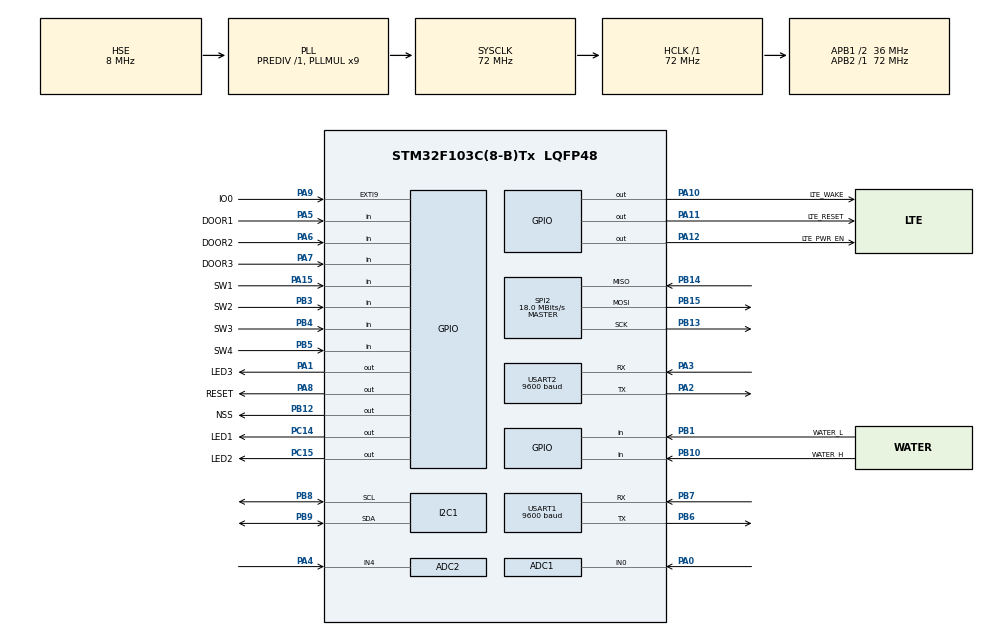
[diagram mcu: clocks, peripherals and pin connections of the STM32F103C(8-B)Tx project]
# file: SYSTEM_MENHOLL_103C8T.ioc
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ADC1.Channel-0\#ChannelRegularConversion=ADC_CHANNEL_0
ADC1.NbrOfConversionFlag=1
ADC1.Rank-0\#ChannelRegularConversion=1
ADC1.SamplingTime-0\#ChannelRegularConversion=ADC_SAMPLETIME_1CYCLE_5
ADC1.master=1
ADC2.Channel-8\#ChannelRegularConversion=ADC_CHANNEL_4
ADC2.NbrOfConversionFlag=1
ADC2.Rank-8\#ChannelRegularConversion=1
ADC2.SamplingTime-8\#ChannelRegularConversion=ADC_SAMPLETIME_1CYCLE_5
FREERTOS.Tasks01=defaultTask,0,128,StartDefaultTask,Default,NULL,Dynamic,NULL,NULL
Mcu.Family=STM32F1
Mcu.Name=STM32F103C(8-B)Tx
Mcu.Package=LQFP48
NVIC.EXTI9_5_IRQn=true\:5\:0\:false\:false\:true\:true\:true\:true
NVIC.PriorityGroup=NVIC_PRIORITYGROUP_4
NVIC.TIM4_IRQn=true\:15\:0\:false\:false\:true\:false\:false\:true
NVIC.TimeBase=TIM4_IRQn
NVIC.TimeBaseIP=TIM4
NVIC.USART1_IRQn=true\:5\:0\:false\:false\:true\:true\:true\:true
NVIC.USART2_IRQn=true\:5\:0\:false\:false\:true\:true\:true\:true
PA0-WKUP.Signal=ADCx_IN0
PA1.GPIO_Label=LED3
PA1.Signal=GPIO_Output
PA10.GPIO_Label=LTE_WAKE
PA10.Signal=GPIO_Output
PA11.GPIO_Label=LTE_RESET
PA11.Signal=GPIO_Output
PA12.GPIO_Label=LTE_PWR_EN
PA12.Signal=GPIO_Output
PA13.Mode=Serial_Wire
PA13.Signal=SYS_JTMS-SWDIO
PA14.Mode=Serial_Wire
PA14.Signal=SYS_JTCK-SWCLK
PA15.GPIO_Label=SW1
PA15.GPIO_PuPd=GPIO_PULLUP
PA15.Signal=GPIO_Input
PA2.Mode=Asynchronous
PA2.Signal=USART2_TX
PA3.Mode=Asynchronous
PA3.Signal=USART2_RX
PA4.Signal=ADCx_IN4
PA5.GPIO_Label=DOOR1
PA5.Signal=GPIO_Input
PA6.GPIO_Label=DOOR2
PA6.Signal=GPIO_Input
PA7.GPIO_Label=DOOR3
PA7.Signal=GPIO_Input
PA8.GPIO_Label=RESET
PA8.Signal=GPIO_Output
PA9.GPIO_Label=IO0
PA9.Signal=GPXTI9
PB1.GPIO_Label=WATER_L
PB1.GPIO_PuPd=GPIO_NOPULL
PB1.Signal=GPIO_Input
PB10.GPIO_Label=WATER_H
PB10.GPIO_PuPd=GPIO_NOPULL
PB10.Signal=GPIO_Input
PB12.GPIO_Label=NSS
PB12.PinState=GPIO_PIN_SET
PB12.Signal=GPIO_Output
PB13.Mode=Full_Duplex_Master
PB13.Signal=SPI2_SCK
PB14.Mode=Full_Duplex_Master
PB14.Signal=SPI2_MISO
PB15.Mode=Full_Duplex_Master
PB15.Signal=SPI2_MOSI
PB3.GPIO_Label=SW2
PB3.GPIO_PuPd=GPIO_PULLUP
PB3.Signal=GPIO_Input
PB4.GPIO_Label=SW3
PB4.GPIO_PuPd=GPIO_PULLUP
PB4.Signal=GPIO_Input
PB5.GPIO_Label=SW4
PB5.GPIO_PuPd=GPIO_PULLUP
PB5.Signal=GPIO_Input
PB6.Mode=Asynchronous
PB6.Signal=USART1_TX
PB7.Mode=Asynchronous
PB7.Signal=USART1_RX
PB8.Mode=I2C
PB8.Signal=I2C1_SCL
PB9.Mode=I2C
PB9.Signal=I2C1_SDA
PC14-OSC32_IN.GPIO_Label=LED1
PC14-OSC32_IN.Signal=GPIO_Output
PC15-OSC32_OUT.GPIO_Label=LED2
PC15-OSC32_OUT.Signal=GPIO_Output
PD0-OSC_IN.Mode=HSE-External-Oscillator
PD0-OSC_IN.Signal=RCC_OSC_IN
PD1-OSC_OUT.Mode=HSE-External-Oscillator
PD1-OSC_OUT.Signal=RCC_OSC_OUT
ProjectManager.HeapSize=0x200
ProjectManager.StackSize=0xf00
ProjectManager.TargetToolchain=EWARM V8.32
RCC.ADCPresc=RCC_ADCPCLK2_DIV6
RCC.AHBFreq_Value=72000000
RCC.APB1CLKDivider=RCC_HCLK_DIV2
RCC.APB1Freq_Value=36000000
RCC.APB1TimFreq_Value=72000000
RCC.APB2Freq_Value=72000000
RCC.APB2TimFreq_Value=72000000
RCC.HCLKFreq_Value=72000000
RCC.PLLMUL=RCC_PLL_MUL9
RCC.PLLSourceVirtual=RCC_PLLSOURCE_HSE
RCC.SYSCLKFreq_VALUE=72000000
RCC.SYSCLKSource=RCC_SYSCLKSOURCE_PLLCLK
RCC.USBFreq_Value=72000000
SH.ADCx_IN0.0=ADC1_IN0,IN0
SH.ADCx_IN4.0=ADC2_IN4,IN4
SPI2.CalculateBaudRate=18.0 MBits/s
SPI2.Direction=SPI_DIRECTION_2LINES
SPI2.Mode=SPI_MODE_MASTER
SPI2.VirtualType=VM_MASTER
USART1.BaudRate=9600
USART1.VirtualMode=VM_ASYNC
USART2.BaudRate=9600
USART2.VirtualMode=VM_ASYNC
VP_FREERTOS_VS_CMSIS_V1.Mode=CMSIS_V1
VP_IWDG_VS_IWDG.Mode=IWDG_Activate
VP_SYS_VS_tim4.Mode=TIM4
board=custom

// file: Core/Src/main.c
/* USER CODE BEGIN Header */
/**
  ******************************************************************************
  * @file           : main.c
  * @brief          : Main program body
  ******************************************************************************
  * @attention
  *
  * Copyright (c) 2022 STMicroelectronics.
  * All rights reserved.
  *
  * This software is licensed under terms that can be found in the LICENSE file
  * in the root directory of this software component.
  * If no LICENSE file comes with this software, it is provided AS-IS.
  *
  ******************************************************************************
  */
/* USER CODE END Header */
#include "main.h"
#include "cmsis_os.h"
#include "adc.h"
#include "i2c.h"
#include "iwdg.h"
#include "spi.h"
#include "usart.h"
#include "gpio.h"

/* USER CODE BEGIN Includes */
#include"common.h"

/* USER CODE END Includes */

void SystemClock_Config(void);
void MX_FREERTOS_Init(void);

/* USER CODE BEGIN 0 */
uint8_t rxData1[1] = {0,};
//int dddata[8] = {1,2,3,4,5,6,7,8};
int dddata[8] = {0,0,0,0,0,0,0,0};

/* USER CODE END 0 */

int main(void)
{

  /* MCU Configuration--------------------------------------------------------*/

  /* Reset of all peripherals, Initializes the Flash interface and the Systick. */
  HAL_Init();

  /* Configure the system clock */
  SystemClock_Config();

  /* Initialize all configured peripherals */
  MX_GPIO_Init();
  MX_SPI2_Init();
  MX_ADC1_Init();
  MX_I2C1_Init();
  MX_USART2_UART_Init();
  MX_ADC2_Init();
  MX_USART1_UART_Init();
 // MX_IWDG_Init();
  /* USER CODE BEGIN 2 */

  My_Device();

  HAL_UART_Receive_IT(&huart1, rxData1, 1);

  if(m_status.gpsEnable)
	GPS_Init();
  else
  	Debug_Init();

  if(m_status.device != MASTER_DEVICE)
  {
  	  if(m_status.mqEnable)Eco_Init();

	  if(m_status.o2Enable)HAL_UART_Transmit(&huart1, "M 1\r\n", 5,1000);
  }

  SX1276_Init(922000000, SF_VALUE, KHZ_125, RATE_4_5, CRC_ENABLE);
  if(m_sx1276.device == MASTER_DEVICE)
  {
	  SX1276_TX_Entry(16, 2000);
	  Lora_Send_Msg("Device_start",NONE_VALUE);
	  LTE_Init();
  }
  else
  {
	  SX1276_RX_Entry(2000);
  }

  //CMD_GetCCLK();

// if(m_status.gpsEnable)
//  GPS_config();

//  while(1)
//  {
//  	if(HTTP_Config(3, dddata)==COMPLETE)break;
//  }
//
  /* USER CODE END 2 */

  /* Call init function for freertos objects (in freertos.c) */
  MX_FREERTOS_Init();
  /* Start scheduler */
  osKernelStart();

  /* We should never get here as control is now taken by the scheduler */
  /* Infinite loop */
  while (1)
  {

    /* USER CODE BEGIN 3 */

//	  if(m_status.device == 0x01)
//	  {
//		  	Master_Pass_Many_Station();
//			Pc_Command_Response();
//	  }
//	  if(m_status.device == 0x02 ||m_status.device == 0x03||m_status.device == 0x04)
//	  {
//	  		Gateway_Pass();
//	  }
//	  if(m_status.device == 0x05) Node_Pass();
//
//    Led_Toggle_Config();
  }
  /* USER CODE END 3 */
}

void SystemClock_Config(void)
{
  RCC_OscInitTypeDef RCC_OscInitStruct = {0};
  RCC_ClkInitTypeDef RCC_ClkInitStruct = {0};
  RCC_PeriphCLKInitTypeDef PeriphClkInit = {0};

  /** Initializes the RCC Oscillators according to the specified parameters
  * in the RCC_OscInitTypeDef structure.
  */
  RCC_OscInitStruct.OscillatorType = RCC_OSCILLATORTYPE_LSI|RCC_OSCILLATORTYPE_HSE;
  RCC_OscInitStruct.HSEState = RCC_HSE_ON;
  RCC_OscInitStruct.HSEPredivValue = RCC_HSE_PREDIV_DIV1;
  RCC_OscInitStruct.HSIState = RCC_HSI_ON;
  RCC_OscInitStruct.LSIState = RCC_LSI_ON;
  RCC_OscInitStruct.PLL.PLLState = RCC_PLL_ON;
  RCC_OscInitStruct.PLL.PLLSource = RCC_PLLSOURCE_HSE;
  RCC_OscInitStruct.PLL.PLLMUL = RCC_PLL_MUL9;
  if (HAL_RCC_OscConfig(&RCC_OscInitStruct) != HAL_OK)
  {
    Error_Handler();
  }
  /** Initializes the CPU, AHB and APB buses clocks
  */
  RCC_ClkInitStruct.ClockType = RCC_CLOCKTYPE_HCLK|RCC_CLOCKTYPE_SYSCLK
                              |RCC_CLOCKTYPE_PCLK1|RCC_CLOCKTYPE_PCLK2;
  RCC_ClkInitStruct.SYSCLKSource = RCC_SYSCLKSOURCE_PLLCLK;
  RCC_ClkInitStruct.AHBCLKDivider = RCC_SYSCLK_DIV1;
  RCC_ClkInitStruct.APB1CLKDivider = RCC_HCLK_DIV2;
  RCC_ClkInitStruct.APB2CLKDivider = RCC_HCLK_DIV1;

  if (HAL_RCC_ClockConfig(&RCC_ClkInitStruct, FLASH_LATENCY_2) != HAL_OK)
  {
    Error_Handler();
  }
  PeriphClkInit.PeriphClockSelection = RCC_PERIPHCLK_ADC;
  PeriphClkInit.AdcClockSelection = RCC_ADCPCLK2_DIV6;
  if (HAL_RCCEx_PeriphCLKConfig(&PeriphClkInit) != HAL_OK)
  {
    Error_Handler();
  }
}

/* USER CODE BEGIN 4 */
//void Main_config()
//{
//	static uint8_t step = STEP1;
//	static uint32_t standardTime = 0;
//	static int cnt = 0;
//	switch(step)
//	{
//		case STEP1:
//			if(HAL_GetTick() >standardTime + SEC_30)
//			{
//				Lora_Send_Msg("Nowtime",HAL_GetTick()/1000);
//				HAL_Delay(1000);
//				Lora_Send_Msg("CNT",cnt++);
//
//				Eco_Config();
//				step = STEP2;
//				standardTime = HAL_GetTick();
//			}
//		break;
//
//		case STEP2:
//			if(HAL_GetTick() >standardTime + SEC_40)
//			{
//				Battery_Config();
//				step = STEP3;
//				standardTime = HAL_GetTick();
//			}
//		break;
//
//		case STEP3:
//			if(HAL_GetTick() >standardTime + SEC_5)
//			{
//				Menholl_Open_Config();
//				step = STEP4;
//				standardTime = HAL_GetTick();
//			}
//		break;
//
//		case STEP4:
//			if(HAL_GetTick() >standardTime + SEC_5)
//			{
//				Pump_Active_Config();
//				step = STEP5;
//				standardTime = HAL_GetTick();
//			}
//		break;
//
//		case STEP5:
//			if(HAL_GetTick() >standardTime + SEC_5)
//			{
//				step = STEP1;
//				All_Send();
//				standardTime = HAL_GetTick();
//			}
//		break;
//
//	}
//	LED1_TOGGLE;
//	LED2_TOGGLE;
//	LED3_TOGGLE;
//	HAL_Delay(100);
//	//Error_Config();
//}
extern char buffer[512];
uint8_t ddFFlag = 0;
void Main_config()
{
	static uint32_t timestemp = 0;

//	if(HAL_GetTick()-timestemp>60000)
//	{
		if(m_status.mqEnable)Eco_Config();

		if(m_status.adcEnable) Battery_Config();
		if(m_status.menhollEnable) Menholl_Open_Config();
		if(m_status.pumpEnable) Pump_Active_Config();
		if(m_status.o2Enable) O2_Sensor();

		if(m_status.adcEnable ||m_status.menhollEnable ||m_status.pumpEnable ||m_status.o2Enable)
		{
			Event_Config(m_sx1276.buffCh3 ,2);
		}
		HAL_Delay(2000);

//		timestemp = HAL_GetTick();
//	}

//		if(HAL_GetTick()-timestemp>15000)
//		{
//			GPS_config();
//			timestemp = HAL_GetTick();
//		}

}

void Test_Event(char ch)
{
	static uint32_t timestemp = 0;
	uint16_t buff[8] = {0,};

	timestemp = HAL_GetTick();
	buff[0] = timestemp/1000;
	buff[1] = timestemp/1000+1;
	buff[2] = timestemp/1000+2;
	buff[3] = timestemp/1000+3;
	buff[4] = timestemp/1000+4;
	buff[5] = timestemp/1000+5;
	buff[6] = timestemp/1000+6;
	buff[7] = timestemp/1000+7;

	switch(ch)
	{
		case 1:	Event_Config(buff,0);	break;
		case 2:	Event_Config(buff,1);	break;
		case 3:	Event_Config(buff,2);	break;
	}

}

uint8_t Event_Config(uint16_t* buffCh, uint8_t chAdd)
{
	static uint32_t timestemp = 0;
	uint8_t onGoing = 1;
	int delay = 0;
	static uint8_t step = STEP1;

	if(Get_Size(buffCh) == 0) return 0;

		while(onGoing)
		{
			switch(step)
			{
				case STEP1:
					LED3_ON;
					m_sx1276.event = 1;
					timestemp = HAL_GetTick();
					delay = rand()%5;
					step = STEP2;
				break;
				case STEP2:
					if(strlen(buffer) != 0)
					{
						timestemp = HAL_GetTick(); // Time reset
						memset(buffer,0,512);
					}
					if(HAL_GetTick()-timestemp>4000+(delay *1000))
					{
						step = STEP3;
					}

				break;

				case STEP3:

					Lora_Send_Msg("1234567", NONE_VALUE); // dumy
					HAL_Delay(1000);

					for(int i =0 ;i < 8;i++)
					{
						if(buffCh[i] != 0)
						{
							if(Node_event(i + (chAdd*8), buffCh[i])==2)
							{
								step = STEP1;
								goto EXIT;
							}
							HAL_Delay(100);
						}
					}

					if(Node_event(MSG_END, MSG_END) == 2)
					{
						step = STEP1;
						goto EXIT;
					}
					HAL_Delay(100);

					step = STEP4;
				break;

				case STEP4:
					LED3_OFF;
					memset(buffCh, 0 , 8*2);
					m_sx1276.event = 0;
					step = STEP1;
					onGoing = 0;
				break;

			}

			EXIT:
		}

}
/* USER CODE END 4 */

void HAL_TIM_PeriodElapsedCallback(TIM_HandleTypeDef *htim)
{
  if (htim->Instance == TIM4) {
    HAL_IncTick();
  }
}

void Error_Handler(void)
{
  /* USER CODE BEGIN Error_Handler_Debug */
  Error_Watchdog(ERR0R_2);
  /* User can add his own implementation to report the HAL error return state */
  __disable_irq();
  while (1)
  {
  }
  /* USER CODE END Error_Handler_Debug */
}

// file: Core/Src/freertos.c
/* USER CODE BEGIN Header */
/**
  ******************************************************************************
  * File Name          : freertos.c
  * Description        : Code for freertos applications
  ******************************************************************************
  * @attention
  *
  * Copyright (c) 2022 STMicroelectronics.
  * All rights reserved.
  *
  * This software is licensed under terms that can be found in the LICENSE file
  * in the root directory of this software component.
  * If no LICENSE file comes with this software, it is provided AS-IS.
  *
  ******************************************************************************
  */
/* USER CODE END Header */

#include "FreeRTOS.h"
#include "task.h"
#include "main.h"
#include "cmsis_os.h"

/* USER CODE BEGIN Includes */
#include"common.h"

/* USER CODE END Includes */

/* USER CODE BEGIN PTD */
void vTask1(void* pvPrameters);
void vTask2(void* pvPrameters);
void vTask3(void* pvPrameters);

void PriorChange();
/* USER CODE END PTD */

/* USER CODE BEGIN PD */
extern char buffer[512];
xTaskHandle xTask1Handle = NULL;
xTaskHandle xTask2Handle = NULL;
xTaskHandle xTask3Handle = NULL;

/* USER CODE END PD */

osThreadId defaultTaskHandle;

void StartDefaultTask(void const * argument);

void MX_FREERTOS_Init(void); /* (MISRA C 2004 rule 8.1) */

/* GetIdleTaskMemory prototype (linked to static allocation support) */
void vApplicationGetIdleTaskMemory( StaticTask_t **ppxIdleTaskTCBBuffer, StackType_t **ppxIdleTaskStackBuffer, uint32_t *pulIdleTaskStackSize );

/* USER CODE BEGIN GET_IDLE_TASK_MEMORY */
static StaticTask_t xIdleTaskTCBBuffer;
static StackType_t xIdleStack[configMINIMAL_STACK_SIZE];

void vApplicationGetIdleTaskMemory( StaticTask_t **ppxIdleTaskTCBBuffer, StackType_t **ppxIdleTaskStackBuffer, uint32_t *pulIdleTaskStackSize )
{
  *ppxIdleTaskTCBBuffer = &xIdleTaskTCBBuffer;
  *ppxIdleTaskStackBuffer = &xIdleStack[0];
  *pulIdleTaskStackSize = configMINIMAL_STACK_SIZE;
  /* place for user code */
}
/* USER CODE END GET_IDLE_TASK_MEMORY */

void MX_FREERTOS_Init(void) {

  /* Create the thread(s) */
  /* definition and creation of defaultTask */
  osThreadDef(defaultTask, StartDefaultTask, osPriorityNormal, 0, 128);
  defaultTaskHandle = osThreadCreate(osThread(defaultTask), NULL);

  /* USER CODE BEGIN RTOS_THREADS */
  /* add threads, ... */

  xTaskCreate(vTask1, "Task 1", 256, NULL, 4, &xTask1Handle);
  //xTaskCreate(vTask2, "Task 2", 128, NULL, 4, &xTask2Handle);
  if(m_status.device != MASTER_DEVICE)
  		xTaskCreate(vTask3, "Task 3", 256, NULL, 4, &xTask3Handle);

  		//uxTaskPriorityGet(xTask2Handle);
  /* USER CODE END RTOS_THREADS */

}

void StartDefaultTask(void const * argument)
{
  for(;;)
  {
    osDelay(1);
  }
}

/* USER CODE BEGIN Application */
void vTask1(void* pvPrameters)
{
	while(1)
	{
		if(m_status.device == MASTER_DEVICE)
		{
			Master_Pass();
		}
		if(m_status.device != MASTER_DEVICE)
		{
			Node_Pass();
		}
		Pc_Command_Response();

	}
}

void vTask2(void* pvPrameters)
{
	while(1)
	{
		HAL_GPIO_TogglePin(GPIOA, GPIO_PIN_1);
		//HAL_Delay(1000);
		osDelay(100);
	}
}

void vTask3(void* pvPrameters)
{
	while(1)
	{

		if(m_status.device != MASTER_DEVICE)
		{
			Main_config();
		}

	}
}

void PriorChange()
{
//	bigboss[0] = uxTaskPriorityGet(xTask1Handle);
//	bigboss[1] = uxTaskPriorityGet(xTask2Handle);
//	bigboss[2] = uxTaskPriorityGet(xTask3Handle);
	vTaskPrioritySet(xTask3Handle,5);
//	bigboss[3] = uxTaskPriorityGet(xTask1Handle);
//	bigboss[4] = uxTaskPriorityGet(xTask2Handle);
//	bigboss[5] = uxTaskPriorityGet(xTask3Handle);
}

/* USER CODE END Application */
